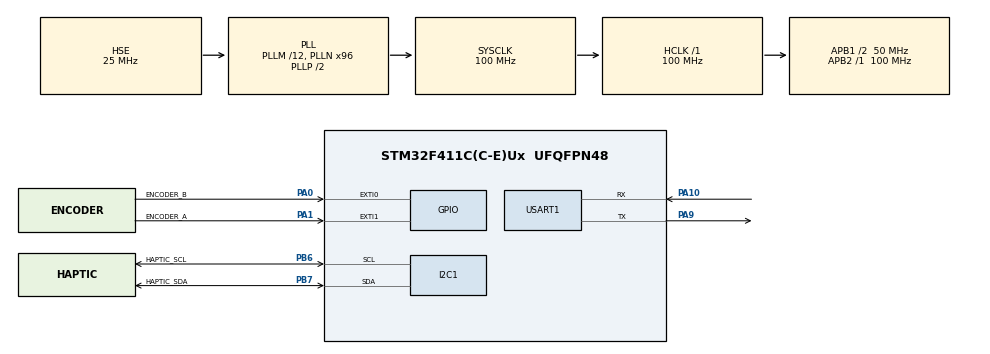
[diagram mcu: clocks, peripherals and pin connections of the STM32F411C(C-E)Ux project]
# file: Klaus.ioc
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Mcu.Family=STM32F4
Mcu.Name=STM32F411C(C-E)Ux
Mcu.Package=UFQFPN48
NVIC.EXTI0_IRQn=true\:0\:0\:false\:false\:true\:true\:true\:true
NVIC.EXTI1_IRQn=true\:0\:0\:false\:false\:true\:true\:true\:true
NVIC.PriorityGroup=NVIC_PRIORITYGROUP_4
NVIC.TIM2_IRQn=true\:0\:0\:false\:false\:true\:true\:true\:true
PA0-WKUP.GPIO_Label=ENCODER_B
PA0-WKUP.GPIO_ModeDefaultEXTI=GPIO_MODE_IT_RISING_FALLING
PA0-WKUP.GPIO_PuPd=GPIO_PULLUP
PA0-WKUP.Signal=GPXTI0
PA1.GPIO_Label=ENCODER_A
PA1.GPIO_ModeDefaultEXTI=GPIO_MODE_IT_RISING_FALLING
PA1.GPIO_PuPd=GPIO_PULLUP
PA1.Signal=GPXTI1
PA10.Mode=Asynchronous
PA10.Signal=USART1_RX
PA9.Mode=Asynchronous
PA9.Signal=USART1_TX
PB6.GPIO_Label=HAPTIC_SCL
PB6.GPIO_Pu=GPIO_NOPULL
PB6.Mode=I2C
PB6.Signal=I2C1_SCL
PB7.GPIO_Label=HAPTIC_SDA
PB7.GPIO_Pu=GPIO_NOPULL
PB7.Mode=I2C
PB7.Signal=I2C1_SDA
PH0\ -\ OSC_IN.Mode=HSE-External-Oscillator
PH0\ -\ OSC_IN.Signal=RCC_OSC_IN
PH1\ -\ OSC_OUT.Mode=HSE-External-Oscillator
PH1\ -\ OSC_OUT.Signal=RCC_OSC_OUT
ProjectManager.HeapSize=0x200
ProjectManager.StackSize=0x400
ProjectManager.TargetToolchain=STM32CubeIDE
RCC.48MHZClocksFreq_Value=50000000
RCC.AHBFreq_Value=100000000
RCC.APB1CLKDivider=RCC_HCLK_DIV2
RCC.APB1Freq_Value=50000000
RCC.APB1TimFreq_Value=100000000
RCC.APB2Freq_Value=100000000
RCC.APB2TimFreq_Value=100000000
RCC.CortexFreq_Value=100000000
RCC.HCLKFreq_Value=100000000
RCC.HSE_VALUE=25000000
RCC.HSI_VALUE=16000000
RCC.LSE_VALUE=32768
RCC.PLLM=12
RCC.PLLN=96
RCC.PLLSourceVirtual=RCC_PLLSOURCE_HSE
RCC.SYSCLKFreq_VALUE=100000000
RCC.SYSCLKSource=RCC_SYSCLKSOURCE_PLLCLK
RCC.VCOOutputFreq_Value=200000000
TIM2.Period=10000 - 1
TIM2.Prescaler=10000 - 1
USART1.VirtualMode=VM_ASYNC
VP_TIM2_VS_ClockSourceINT.Mode=Internal
board=custom

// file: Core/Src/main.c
/* USER CODE BEGIN Header */
/**
  ******************************************************************************
  * @file           : main.c
  * @brief          : Main program body
  ******************************************************************************
  * @attention
  *
  * Copyright (c) 2026 STMicroelectronics.
  * All rights reserved.
  *
  * This software is licensed under terms that can be found in the LICENSE file
  * in the root directory of this software component.
  * If no LICENSE file comes with this software, it is provided AS-IS.
  *
  ******************************************************************************
  */
/* USER CODE END Header */
#include "main.h"

/* USER CODE BEGIN Includes */
#include <stdio.h>
#include "drv2605l.h"

/* USER CODE END Includes */

I2C_HandleTypeDef hi2c1;

TIM_HandleTypeDef htim2;

UART_HandleTypeDef huart1;

void SystemClock_Config(void);
static void MX_GPIO_Init(void);
static void MX_I2C1_Init(void);
static void MX_USART1_UART_Init(void);
static void MX_TIM2_Init(void);

/* USER CODE BEGIN 0 */

// Code to redirect printf through UART.
int _write(int fd, char* ptr, int len) {
	HAL_StatusTypeDef hstatus;

	if (fd == 1 || fd == 2) {
	  hstatus = HAL_UART_Transmit(&huart1, (uint8_t *) ptr, len, HAL_MAX_DELAY);
	  if (hstatus == HAL_OK)
		return len;
	  else
		return -1;
	}
	return -1;
}

uint8_t encoder_last_state = 0;
uint8_t encoder_state = 0;
uint8_t encoder_change = 2;

// Going Clockwise: 00, 10, 11, 01, 00 -- 0, 2, 3, 1, 0
// If encoder_clockwise_dict[last_state] == new state, you go clockwise.
uint8_t encoder_clockwise_dict[4] = {
		2, 0, 3, 1
};
// If encoder_counterclockwise_dict[last_state] == new state, you go counterclockwise.
uint8_t encoder_counterclockwise_dict[4] = {
		1, 3, 0, 2
};
// If the new value is in neither, it is just noise

void HAL_GPIO_EXTI_Callback(uint16_t GPIO_Pin) {
	if (GPIO_Pin == ENCODER_A_Pin || GPIO_Pin == ENCODER_B_Pin) {
		// Encoder A pin
		encoder_change = 1;
	}
}

// Timer for generating metronome beats

uint8_t metronome_beat = 0;
void HAL_TIM_PeriodElapsedCallback(TIM_HandleTypeDef *htim) {
	if (htim->Instance == TIM2) {
		// Timer 2 reset
		metronome_beat = 1;
	}
}

/* USER CODE END 0 */

int main(void)
{

  /* MCU Configuration--------------------------------------------------------*/

  /* Reset of all peripherals, Initializes the Flash interface and the Systick. */
  HAL_Init();

  /* Configure the system clock */
  SystemClock_Config();

  /* Initialize all configured peripherals */
  MX_GPIO_Init();
  MX_I2C1_Init();
  MX_USART1_UART_Init();
  MX_TIM2_Init();
  /* USER CODE BEGIN 2 */

  printf("Working!\r\n");

  drv2605l_handle_t haptic_driver;
  drv2605l_init(&haptic_driver, &hi2c1);

  // Start timer for generating metronome beats
  HAL_TIM_Base_Start_IT(&htim2);

  /* CODE TO CYCLE THROUGH ALL THE VIBRATION WAVEFORMS
  for (uint8_t i = 1; i < 124; i ++) {
	  HAL_Delay(250);
	  printf("Playing: %u\r\n",i);
	  drv2605l_play(i);
  }*/

  /* USER CODE END 2 */

  /* Infinite loop */
  /* USER CODE BEGIN WHILE */

  int16_t tempo = 60;

  while (1)
  {
	  // ENCODER CODE
	  if (encoder_change == 2) { // First time initializing encoder variables
		  encoder_change = 0;
		  encoder_state = (HAL_GPIO_ReadPin(ENCODER_A_GPIO_Port, ENCODER_A_Pin) << 1) | HAL_GPIO_ReadPin(ENCODER_B_GPIO_Port, ENCODER_B_Pin);
		  encoder_last_state = encoder_state;
	  }

	  if (encoder_change) {
		  // Rotary encoder twisted
		  encoder_state = (HAL_GPIO_ReadPin(ENCODER_A_GPIO_Port, ENCODER_A_Pin) << 1) | HAL_GPIO_ReadPin(ENCODER_B_GPIO_Port, ENCODER_B_Pin);
		  int8_t change = 0;
		  if (encoder_clockwise_dict[encoder_last_state] == encoder_state) {
			  // Go clockwise
			  change = 1;
		  }
		  else if (encoder_counterclockwise_dict[encoder_last_state] == encoder_state) {
			  // Go counterclockwise
			  change = -1;
		  }
		  else {
			  // Noise, ignore
		  }

		  if (encoder_state == 0) { // The encoder is detented, so this checks for a complete twist.
			  uint16_t new_tempo = tempo + change;

			  // Make sure tempo in range
			  // And, multiply change to make twisting knob faster for higher tempos

			  if (new_tempo >= 30 && new_tempo < 60) {
				  new_tempo += 1 * change;
				  tempo = new_tempo;
			  }
			  else if (new_tempo >= 60 && new_tempo < 72) {
				  new_tempo += 2 * change;
				  tempo = new_tempo;
			  }
			  else if (new_tempo >= 72 && new_tempo < 120) {
				  new_tempo += 3 * change;
				  tempo = new_tempo;
			  }
			  else if (new_tempo >= 120 && new_tempo < 144) {
				  new_tempo += 5 * change;
				  tempo = new_tempo;
			  }
			  else if (new_tempo >= 144 && new_tempo < 208) {
				  new_tempo += 7 * change;
				  tempo = new_tempo;
			  }

			  // Calculate new counter period for timer with new tempo
			  uint16_t new_period = 600000 / tempo;
			  printf("New period: %d. New tempo: %d\r\n", new_period, tempo);
			  __HAL_TIM_SET_COUNTER(&htim2, 0);
			  __HAL_TIM_SET_AUTORELOAD(&htim2, new_period - 1);
		  }

		  encoder_last_state = encoder_state;
		  encoder_change = 0;

	  }

	  // TIMER CODE

	  if (metronome_beat) {
		  // Play vibration waveform for beat
		  printf("Pulse\r\n");
		  drv2605l_play(&haptic_driver, 4);
		  metronome_beat = 0;
	  }

    /* USER CODE END WHILE */

  }
}

void SystemClock_Config(void)
{
  RCC_OscInitTypeDef RCC_OscInitStruct = {0};
  RCC_ClkInitTypeDef RCC_ClkInitStruct = {0};

  /** Configure the main internal regulator output voltage
  */
  __HAL_RCC_PWR_CLK_ENABLE();
  __HAL_PWR_VOLTAGESCALING_CONFIG(PWR_REGULATOR_VOLTAGE_SCALE1);

  /** Initializes the RCC Oscillators according to the specified parameters
  * in the RCC_OscInitTypeDef structure.
  */
  RCC_OscInitStruct.OscillatorType = RCC_OSCILLATORTYPE_HSE;
  RCC_OscInitStruct.HSEState = RCC_HSE_ON;
  RCC_OscInitStruct.PLL.PLLState = RCC_PLL_ON;
  RCC_OscInitStruct.PLL.PLLSource = RCC_PLLSOURCE_HSE;
  RCC_OscInitStruct.PLL.PLLM = 12;
  RCC_OscInitStruct.PLL.PLLN = 96;
  RCC_OscInitStruct.PLL.PLLP = RCC_PLLP_DIV2;
  RCC_OscInitStruct.PLL.PLLQ = 4;
  if (HAL_RCC_OscConfig(&RCC_OscInitStruct) != HAL_OK)
  {
    Error_Handler();
  }

  /** Initializes the CPU, AHB and APB buses clocks
  */
  RCC_ClkInitStruct.ClockType = RCC_CLOCKTYPE_HCLK|RCC_CLOCKTYPE_SYSCLK
                              |RCC_CLOCKTYPE_PCLK1|RCC_CLOCKTYPE_PCLK2;
  RCC_ClkInitStruct.SYSCLKSource = RCC_SYSCLKSOURCE_PLLCLK;
  RCC_ClkInitStruct.AHBCLKDivider = RCC_SYSCLK_DIV1;
  RCC_ClkInitStruct.APB1CLKDivider = RCC_HCLK_DIV2;
  RCC_ClkInitStruct.APB2CLKDivider = RCC_HCLK_DIV1;

  if (HAL_RCC_ClockConfig(&RCC_ClkInitStruct, FLASH_LATENCY_3) != HAL_OK)
  {
    Error_Handler();
  }
}

static void MX_I2C1_Init(void)
{

  hi2c1.Instance = I2C1;
  hi2c1.Init.ClockSpeed = 100000;
  hi2c1.Init.DutyCycle = I2C_DUTYCYCLE_2;
  hi2c1.Init.OwnAddress1 = 0;
  hi2c1.Init.AddressingMode = I2C_ADDRESSINGMODE_7BIT;
  hi2c1.Init.DualAddressMode = I2C_DUALADDRESS_DISABLE;
  hi2c1.Init.OwnAddress2 = 0;
  hi2c1.Init.GeneralCallMode = I2C_GENERALCALL_DISABLE;
  hi2c1.Init.NoStretchMode = I2C_NOSTRETCH_DISABLE;
  if (HAL_I2C_Init(&hi2c1) != HAL_OK)
  {
    Error_Handler();
  }

}

static void MX_TIM2_Init(void)
{

  TIM_ClockConfigTypeDef sClockSourceConfig = {0};
  TIM_MasterConfigTypeDef sMasterConfig = {0};

  htim2.Instance = TIM2;
  htim2.Init.Prescaler = 10000 - 1;
  htim2.Init.CounterMode = TIM_COUNTERMODE_UP;
  htim2.Init.Period = 10000 - 1;
  htim2.Init.ClockDivision = TIM_CLOCKDIVISION_DIV1;
  htim2.Init.AutoReloadPreload = TIM_AUTORELOAD_PRELOAD_DISABLE;
  if (HAL_TIM_Base_Init(&htim2) != HAL_OK)
  {
    Error_Handler();
  }
  sClockSourceConfig.ClockSource = TIM_CLOCKSOURCE_INTERNAL;
  if (HAL_TIM_ConfigClockSource(&htim2, &sClockSourceConfig) != HAL_OK)
  {
    Error_Handler();
  }
  sMasterConfig.MasterOutputTrigger = TIM_TRGO_RESET;
  sMasterConfig.MasterSlaveMode = TIM_MASTERSLAVEMODE_DISABLE;
  if (HAL_TIMEx_MasterConfigSynchronization(&htim2, &sMasterConfig) != HAL_OK)
  {
    Error_Handler();
  }

}

static void MX_USART1_UART_Init(void)
{

  huart1.Instance = USART1;
  huart1.Init.BaudRate = 115200;
  huart1.Init.WordLength = UART_WORDLENGTH_8B;
  huart1.Init.StopBits = UART_STOPBITS_1;
  huart1.Init.Parity = UART_PARITY_NONE;
  huart1.Init.Mode = UART_MODE_TX_RX;
  huart1.Init.HwFlowCtl = UART_HWCONTROL_NONE;
  huart1.Init.OverSampling = UART_OVERSAMPLING_16;
  if (HAL_UART_Init(&huart1) != HAL_OK)
  {
    Error_Handler();
  }

}

static void MX_GPIO_Init(void)
{
  GPIO_InitTypeDef GPIO_InitStruct = {0};

  /* GPIO Ports Clock Enable */
  __HAL_RCC_GPIOH_CLK_ENABLE();
  __HAL_RCC_GPIOA_CLK_ENABLE();
  __HAL_RCC_GPIOB_CLK_ENABLE();

  /*Configure GPIO pins : ENCODER_B_Pin ENCODER_A_Pin */
  GPIO_InitStruct.Pin = ENCODER_B_Pin|ENCODER_A_Pin;
  GPIO_InitStruct.Mode = GPIO_MODE_IT_RISING_FALLING;
  GPIO_InitStruct.Pull = GPIO_PULLUP;
  HAL_GPIO_Init(GPIOA, &GPIO_InitStruct);

  /* EXTI interrupt init*/
  HAL_NVIC_SetPriority(EXTI0_IRQn, 0, 0);
  HAL_NVIC_EnableIRQ(EXTI0_IRQn);

  HAL_NVIC_SetPriority(EXTI1_IRQn, 0, 0);
  HAL_NVIC_EnableIRQ(EXTI1_IRQn);

}

void Error_Handler(void)
{
  __disable_irq();
  while (1)
  {
  }
}
